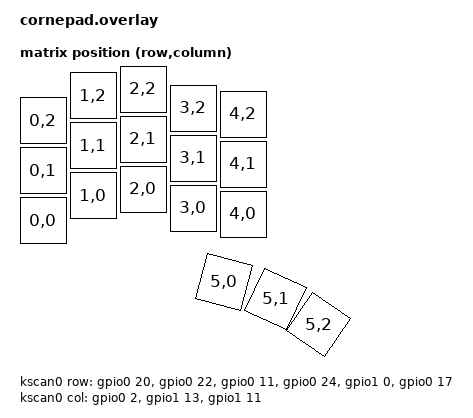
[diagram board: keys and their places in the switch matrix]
#include <dt-bindings/zmk/matrix_transform.h>
#include <physical_layouts.dtsi>

/ {
    chosen {
        zmk,kscan = &kscan0;
        zmk,physical-layout = &physical_layout0;
    };

    // 1. Matrice Elettrica (Pin fisici saldati)
    kscan0: kscan_0 {
        compatible = "zmk,kscan-gpio-matrix";
        diode-direction = "col2row";

        // RIGHE (lato sinistro della scheda)
        row-gpios
            = <&gpio0 20 (GPIO_ACTIVE_HIGH | GPIO_PULL_DOWN)>  // Riga 0: Mignolo (0.20)
            , <&gpio0 22 (GPIO_ACTIVE_HIGH | GPIO_PULL_DOWN)>  // Riga 1: Anulare (0.22)
            , <&gpio0 11 (GPIO_ACTIVE_HIGH | GPIO_PULL_DOWN)>  // Riga 2: Medio (0.11)
            , <&gpio0 24 (GPIO_ACTIVE_HIGH | GPIO_PULL_DOWN)>  // Riga 3: Indice (0.24)
            , <&gpio1  0 (GPIO_ACTIVE_HIGH | GPIO_PULL_DOWN)>  // Riga 4: Indice Interno (1.00)
            , <&gpio0 17 (GPIO_ACTIVE_HIGH | GPIO_PULL_DOWN)>  // Riga 5: Cluster Pollice (0.17)
            ;

        // COLONNE (lato destro della scheda)
        col-gpios
            = <&gpio0  2 GPIO_ACTIVE_HIGH>  // Colonna 0: Tasti Bassi (0.02)
            , <&gpio1 13 GPIO_ACTIVE_HIGH>  // Colonna 1: Tasti Medi (1.13)
            , <&gpio1 11 GPIO_ACTIVE_HIGH>  // Colonna 2: Tasti Alti (1.11)
            ;
    };

    // 2. Ponte Geometrico (Mappa logica 18 tasti)
    default_transform: keymap_transform_0 {
        compatible = "zmk,matrix-transform";
        columns = <3>;
        rows = <6>;
        map = <
            // Tasti Alti (0, 1, 2, 3, 4)
            RC(0,2) RC(1,2) RC(2,2) RC(3,2) RC(4,2)
            // Tasti Medi / Home (5, 6, 7, 8, 9)
            RC(0,1) RC(1,1) RC(2,1) RC(3,1) RC(4,1)
            // Tasti Bassi (10, 11, 12, 13, 14)
            RC(0,0) RC(1,0) RC(2,0) RC(3,0) RC(4,0)
            // Tasti Pollice (15, 16, 17)
            RC(5,0) RC(5,1) RC(5,2)
        >;
    };

    // 3. Layout Fisico Reale per ZMK Studio (Cluster Pollice Calibrato al Millimetro)
    physical_layout0: physical_layout_0 {
        compatible = "zmk,physical-layout";
        display-name = "Cornepad";
        transform = <&default_transform>;
        kscan = <&kscan0>;
        keys  // w   h    x    y   rot   rx   ry
            // --- FILA SUPERIORE ---
            = <&key_physical_attrs 100 100    0   63     0   0   0>  // Tasto 0: Mignolo Alto
            , <&key_physical_attrs 100 100  100   13     0   0   0>  // Tasto 1: Anulare Alto
            , <&key_physical_attrs 100 100  200    0     0   0   0>  // Tasto 2: Medio Alto
            , <&key_physical_attrs 100 100  300   38     0   0   0>  // Tasto 3: Indice Alto
            , <&key_physical_attrs 100 100  400   50     0   0   0>  // Tasto 4: Indice Int. Alto

            // --- FILA CENTRALE (HOME ROW) ---
            , <&key_physical_attrs 100 100    0  163     0   0   0>  // Tasto 5: Mignolo Home
            , <&key_physical_attrs 100 100  100  113     0   0   0>  // Tasto 6: Anulare Home
            , <&key_physical_attrs 100 100  200  100     0   0   0>  // Tasto 7: Medio Home
            , <&key_physical_attrs 100 100  300  138     0   0   0>  // Tasto 8: Indice Home
            , <&key_physical_attrs 100 100  400  150     0   0   0>  // Tasto 9: Indice Int. Home

            // --- FILA INFERIORE ---
            , <&key_physical_attrs 100 100    0  263     0   0   0>  // Tasto 10: Mignolo Basso
            , <&key_physical_attrs 100 100  100  213     0   0   0>  // Tasto 11: Anulare Basso
            , <&key_physical_attrs 100 100  200  200     0   0   0>  // Tasto 12: Medio Basso
            , <&key_physical_attrs 100 100  300  238     0   0   0>  // Tasto 13: Indice Basso
            , <&key_physical_attrs 100 100  400  250     0   0   0>  // Tasto 14: Indice Int. Basso

            // --- CLUSTER POLLICE AD ARCO ---
            , <&key_physical_attrs 100 100  362  386  1500 412 436>  // Tasto 15: Pollice 1 (15°)
            , <&key_physical_attrs 100 100  465  420  2500 515 470>  // Tasto 16: Pollice 2 (25°)
            , <&key_physical_attrs 100 100  551  471  3500 601 521>  // Tasto 17: Pollice 3 (35°, -1/6 X, +1/6 Y)
            ;
    };
};
